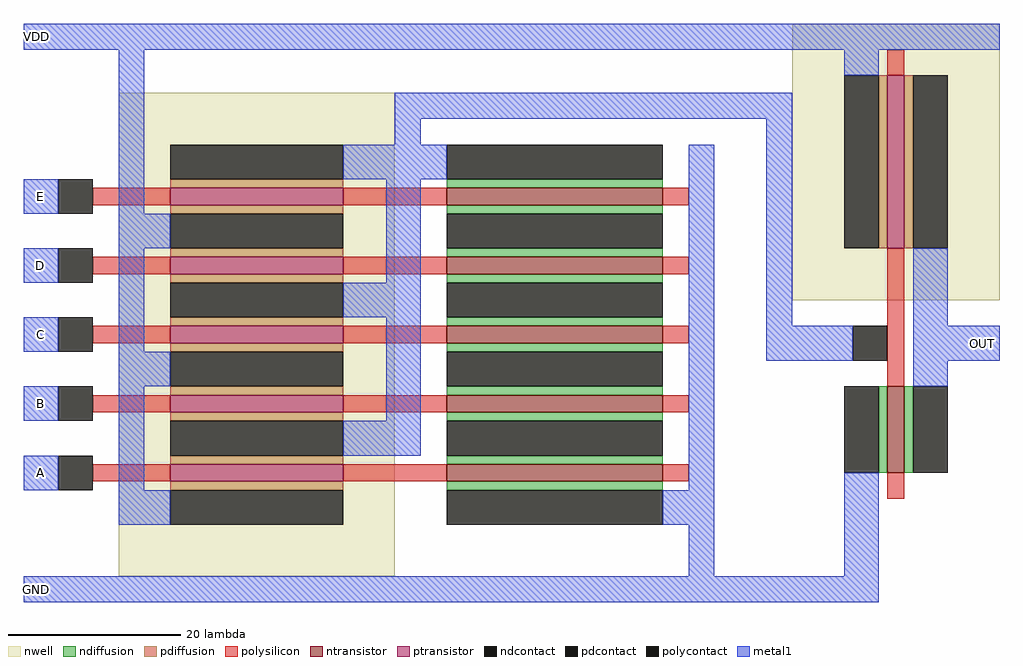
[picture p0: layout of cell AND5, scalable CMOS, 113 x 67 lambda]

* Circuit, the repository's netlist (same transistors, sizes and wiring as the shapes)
* SPICE3 file created from AND5.ext - technology: scmos

.option scale=0.09u

M1000 OUT a_17_13# GND Gnd cmosn w=10 l=2
+  ad=50 pd=30 as=175 ps=90
M1001 a_17_13# E a_49_37# Gnd cmosn w=25 l=2
+  ad=125 pd=60 as=150 ps=62
M1002 a_49_21# B a_49_13# Gnd cmosn w=25 l=2
+  ad=150 pd=62 as=150 ps=62
M1003 a_17_13# E VDD w_11_0# cmosp w=20 l=2
+  ad=340 pd=154 as=440 ps=204
M1004 VDD B a_17_13# w_11_0# cmosp w=20 l=2
+  ad=0 pd=0 as=0 ps=0
M1005 OUT a_17_13# VDD w_89_32# cmosp w=20 l=2
+  ad=100 pd=50 as=0 ps=0
M1006 a_49_29# C a_49_21# Gnd cmosn w=25 l=2
+  ad=150 pd=62 as=0 ps=0
M1007 a_17_13# C VDD w_11_0# cmosp w=20 l=2
+  ad=0 pd=0 as=0 ps=0
M1008 a_49_13# A GND Gnd cmosn w=25 l=2
+  ad=0 pd=0 as=0 ps=0
M1009 a_17_13# A VDD w_11_0# cmosp w=20 l=2
+  ad=0 pd=0 as=0 ps=0
M1010 a_49_37# D a_49_29# Gnd cmosn w=25 l=2
+  ad=0 pd=0 as=0 ps=0
M1011 VDD D a_17_13# w_11_0# cmosp w=20 l=2
+  ad=0 pd=0 as=0 ps=0

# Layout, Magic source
magic
tech scmos
<< nwell >>
rect 11 0 43 56
rect 89 32 113 64
<< ntransistor >>
rect 49 43 74 45
rect 49 35 74 37
rect 49 27 74 29
rect 49 19 74 21
rect 49 11 74 13
rect 100 12 102 22
<< ptransistor >>
rect 17 43 37 45
rect 100 38 102 58
rect 17 35 37 37
rect 17 27 37 29
rect 17 19 37 21
rect 17 11 37 13
<< ndiffusion >>
rect 49 45 74 46
rect 49 42 74 43
rect 49 37 74 38
rect 49 34 74 35
rect 49 29 74 30
rect 49 26 74 27
rect 49 21 74 22
rect 49 18 74 19
rect 49 13 74 14
rect 99 12 100 22
rect 102 12 103 22
rect 49 10 74 11
<< pdiffusion >>
rect 17 45 37 46
rect 17 42 37 43
rect 17 37 37 38
rect 99 38 100 58
rect 102 38 103 58
rect 17 34 37 35
rect 17 29 37 30
rect 17 26 37 27
rect 17 21 37 22
rect 17 18 37 19
rect 17 13 37 14
rect 17 10 37 11
<< ndcontact >>
rect 49 46 74 50
rect 49 38 74 42
rect 49 30 74 34
rect 49 22 74 26
rect 49 14 74 18
rect 95 12 99 22
rect 103 12 107 22
rect 49 6 74 10
<< pdcontact >>
rect 17 46 37 50
rect 17 38 37 42
rect 95 38 99 58
rect 103 38 107 58
rect 17 30 37 34
rect 17 22 37 26
rect 17 14 37 18
rect 17 6 37 10
<< polysilicon >>
rect 100 58 102 61
rect 8 43 17 45
rect 37 43 49 45
rect 74 43 77 45
rect 8 35 17 37
rect 37 35 49 37
rect 74 35 77 37
rect 8 27 17 29
rect 37 27 49 29
rect 74 27 77 29
rect 100 22 102 38
rect 8 19 17 21
rect 37 19 49 21
rect 74 19 77 21
rect 8 11 17 13
rect 37 11 49 13
rect 74 11 77 13
rect 100 9 102 12
<< polycontact >>
rect 4 42 8 46
rect 4 34 8 38
rect 4 26 8 30
rect 4 18 8 22
rect 96 25 100 29
rect 4 10 8 14
<< metal1 >>
rect 0 61 113 64
rect 0 42 4 46
rect 11 42 14 61
rect 95 58 99 61
rect 43 53 89 56
rect 43 50 46 53
rect 37 46 49 50
rect 11 38 17 42
rect 0 34 4 38
rect 0 26 4 30
rect 11 26 14 38
rect 42 34 46 46
rect 37 30 46 34
rect 11 22 17 26
rect 0 18 4 22
rect 0 10 4 14
rect 11 10 14 22
rect 42 18 46 30
rect 37 14 46 18
rect 77 10 80 50
rect 86 29 89 53
rect 103 29 107 38
rect 86 25 96 29
rect 103 25 113 29
rect 103 22 107 25
rect 11 6 17 10
rect 74 6 80 10
rect 77 0 80 6
rect 95 0 99 12
rect 0 -3 99 0
<< labels >>
rlabel metal1 0 10 4 14 3 A
rlabel metal1 0 18 4 22 3 B
rlabel metal1 0 26 4 30 3 C
rlabel metal1 0 34 4 38 3 D
rlabel metal1 0 42 4 46 3 E
rlabel metal1 109 25 113 29 7 OUT
rlabel metal1 0 61 3 64 4 VDD
rlabel metal1 0 -3 3 0 2 GND
<< end >>
